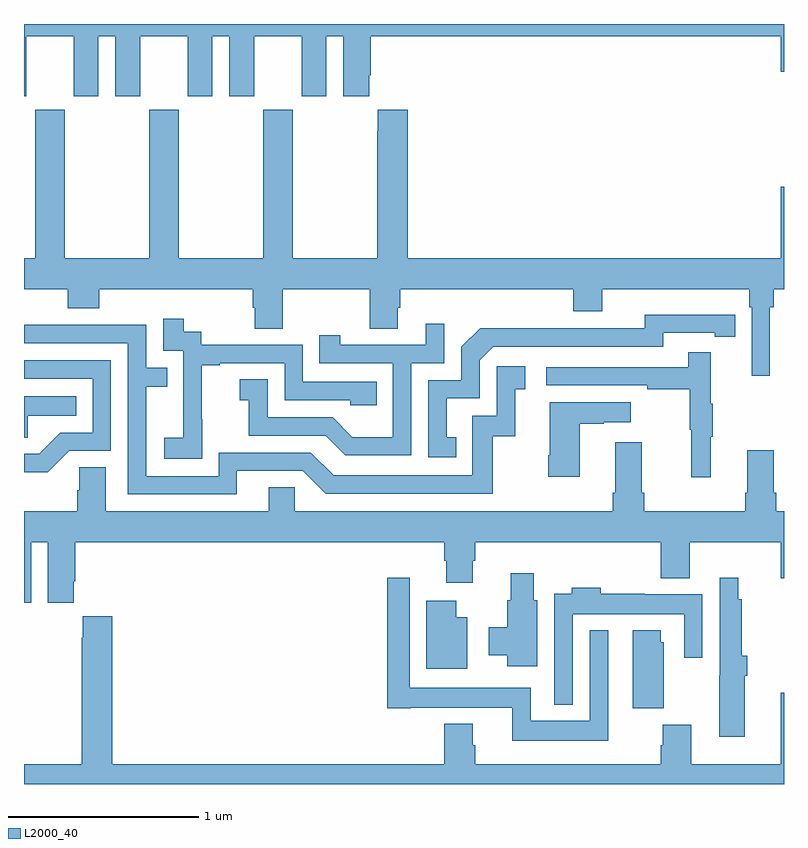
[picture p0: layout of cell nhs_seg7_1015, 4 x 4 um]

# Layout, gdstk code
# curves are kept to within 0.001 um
import gdstk
lib = gdstk.Library(unit=1e-6, precision=1e-09)
def P(c, l, *ps):  # polygons
    for p in ps: c.add(gdstk.Polygon(p, *l))
L2000_40 = (2000, 40)

nhs_seg7_1015 = lib.new_cell('nhs_seg7_1015')
P(nhs_seg7_1015, L2000_40, [(185.011,1013.936),(185.261,1013.936),(185.261,1013.619),(185.392,1013.619),(185.392,1013.936),(185.48,1013.936),(185.48,1013.619),(185.611,1013.619),(185.611,1013.936),(185.861,1013.936),(185.861,1013.619),(185.992,1013.619),(185.992,1013.936),(186.08,1013.936),(186.08,1013.619),(186.211,1013.619),(186.211,1013.936),(186.461,1013.936),(186.461,1013.619),(186.592,1013.619),(186.592,1013.936),(186.68,1013.936),(186.68,1013.619),(186.817,1013.619),(186.817,1013.731),(186.824,1013.731),(186.824,1013.936),(188.984,1013.936),(188.984,1013.748),(189,1013.748),(189,1014),(185,1014),(185,1013.619),(185.011,1013.619)],
  [(185.214,1013.548),(185.059,1013.548),(185.059,1012.768),(185,1012.768),(185,1012.604),(185.231,1012.604),(185.231,1012.505),(185.396,1012.505),(185.396,1012.604),(186.203,1012.604),(186.203,1012.506),(186.215,1012.506),(186.215,1012.396),(186.363,1012.396),(186.363,1012.604),(186.82,1012.604),(186.82,1012.396),(186.967,1012.396),(186.967,1012.506),(186.98,1012.506),(186.98,1012.604),(187.892,1012.604),(187.892,1012.487),(188.044,1012.487),(188.044,1012.604),(188.816,1012.604),(188.816,1012.508),(188.829,1012.508),(188.829,1012.149),(188.926,1012.149),(188.926,1012.508),(188.945,1012.508),(188.945,1012.604),(189,1012.604),(189,1013.143),(188.984,1013.143),(188.984,1012.768),(187.019,1012.768),(187.019,1013.548),(186.863,1013.548),(186.863,1013.435),(186.859,1013.435),(186.859,1012.768),(186.414,1012.768),(186.414,1013.548),(186.259,1013.548),(186.259,1012.768),(185.814,1012.768),(185.814,1013.548),(185.659,1013.548),(185.659,1012.768),(185.214,1012.768)],
  [(187.274,1011.825),(187.225,1011.825),(187.225,1012.029),(187.398,1012.029),(187.398,1012.23),(187.47,1012.302),(188.364,1012.302),(188.364,1012.374),(188.636,1012.374),(188.636,1012.354),(188.744,1012.354),(188.744,1012.47),(188.268,1012.471),(188.268,1012.398),(187.808,1012.398),(187.808,1012.4),(187.4,1012.4),(187.302,1012.302),(187.302,1012.125),(187.128,1012.125),(187.128,1011.72),(187.274,1011.72)],
  [(185.937,1011.919),(185.936,1011.919),(185.936,1012.203),(186.031,1012.203),(186.031,1012.215),(186.372,1012.215),(186.372,1012.02),(186.717,1012.02),(186.717,1011.993),(186.857,1011.993),(186.857,1012.116),(186.468,1012.116),(186.468,1012.311),(185.934,1012.311),(185.934,1012.38),(185.842,1012.38),(185.842,1012.45),(185.733,1012.45),(185.733,1012.281),(185.838,1012.281),(185.838,1012.052),(185.837,1012.052),(185.837,1011.823),(185.739,1011.823),(185.739,1011.713),(185.937,1011.713)],
  [(187.038,1012.215),(187.212,1012.215),(187.212,1012.423),(187.115,1012.423),(187.115,1012.311),(186.664,1012.311),(186.664,1012.363),(186.553,1012.363),(186.553,1012.215),(186.942,1012.215),(186.942,1011.826),(186.728,1011.826),(186.624,1011.93),(186.282,1011.93),(186.282,1012.129),(186.135,1012.129),(186.135,1012.019),(186.184,1012.019),(186.184,1011.834),(186.587,1011.834),(186.692,1011.729),(187.038,1011.729)],
  [(186.121,1011.648),(186.468,1011.648),(186.588,1011.528),(187.468,1011.528),(187.468,1011.831),(187.586,1011.831),(187.586,1012.077),(187.639,1012.077),(187.639,1012.198),(187.488,1012.198),(187.488,1011.939),(187.359,1011.939),(187.359,1011.624),(186.63,1011.624),(186.51,1011.744),(186.024,1011.744),(186.024,1011.621),(185.643,1011.621),(185.643,1012.09),(185.753,1012.09),(185.753,1012.191),(185.643,1012.191),(185.643,1012.416),(185.147,1012.416),(185.147,1012.418),(185,1012.418),(185,1012.32),(185.547,1012.32),(185.547,1011.525),(186.121,1011.525)],
  [(188.615,1011.827),(188.626,1011.827),(188.626,1012.001),(188.615,1012.001),(188.615,1012.273),(188.497,1012.273),(188.497,1012.194),(187.749,1012.194),(187.749,1012.098),(188.281,1012.098),(188.281,1012.078),(188.505,1012.078),(188.505,1011.864),(188.512,1011.864),(188.512,1011.615),(188.615,1011.615)],
  [(185.238,1011.753),(185.457,1011.753),(185.457,1012.23),(185,1012.23),(185,1012.134),(185.361,1012.134),(185.361,1011.849),(185.192,1011.849),(185.081,1011.738),(185,1011.738),(185,1011.641),(185.125,1011.641)],
  [(185.019,1011.938),(185.276,1011.938),(185.276,1012.042),(185,1012.042),(185,1011.823),(185.019,1011.823)],
  [(187.924,1011.895),(188.051,1011.895),(188.051,1011.905),(188.194,1011.905),(188.194,1012.009),(187.766,1012.009),(187.766,1011.73),(187.759,1011.73),(187.759,1011.618),(187.924,1011.618)],
  [(185.038,1011.272),(185.126,1011.272),(185.126,1010.955),(185.263,1010.955),(185.263,1011.067),(185.27,1011.067),(185.27,1011.272),(187.211,1011.272),(187.211,1011.174),(187.223,1011.174),(187.223,1011.06),(187.363,1011.06),(187.363,1011.174),(187.376,1011.174),(187.376,1011.272),(188.351,1011.272),(188.351,1011.083),(188.503,1011.083),(188.503,1011.272),(188.984,1011.272),(188.984,1011.084),(189,1011.084),(189,1011.436),(188.96,1011.436),(188.96,1011.532),(188.947,1011.532),(188.947,1011.757),(188.807,1011.757),(188.807,1011.532),(188.795,1011.532),(188.795,1011.436),(188.264,1011.436),(188.264,1011.532),(188.251,1011.532),(188.251,1011.799),(188.111,1011.799),(188.111,1011.532),(188.099,1011.532),(188.099,1011.436),(186.426,1011.436),(186.426,1011.563),(186.287,1011.563),(186.287,1011.436),(185.431,1011.436),(185.431,1011.668),(185.292,1011.668),(185.292,1011.545),(185.279,1011.545),(185.279,1011.436),(185,1011.436),(185,1010.955),(185.038,1010.955)],
  [(187.702,1010.967),(187.684,1010.967),(187.684,1011.109),(187.562,1011.109),(187.562,1010.967),(187.544,1010.967),(187.544,1010.826),(187.445,1010.826),(187.445,1010.678),(187.544,1010.678),(187.544,1010.619),(187.702,1010.619)],
  [(188.074,1010.809),(187.977,1010.809),(187.977,1010.332),(187.668,1010.332),(187.668,1010.506),(187.029,1010.506),(187.029,1011.085),(186.913,1011.085),(186.913,1010.4),(187.036,1010.4),(187.036,1010.402),(187.571,1010.402),(187.571,1010.228),(188.074,1010.228)],
  [(188.794,1010.57),(188.807,1010.57),(188.807,1010.674),(188.777,1010.674),(188.777,1010.972),(188.76,1010.972),(188.76,1011.085),(188.661,1011.085),(188.661,1010.57),(188.66,1010.57),(188.66,1010.25),(188.794,1010.25)],
  [(187.887,1010.894),(188.475,1010.894),(188.475,1010.664),(188.571,1010.664),(188.571,1010.998),(188.267,1010.998),(188.267,1011.001),(188.036,1011.001),(188.036,1011.034),(187.883,1011.034),(187.883,1011.001),(187.791,1011.001),(187.791,1010.417),(187.887,1010.417)],
  [(187.333,1010.878),(187.276,1010.878),(187.276,1010.965),(187.118,1010.965),(187.118,1010.606),(187.333,1010.606)],
  [(189,1010.479),(188.984,1010.479),(188.984,1010.104),(188.511,1010.104),(188.511,1010.313),(188.363,1010.313),(188.363,1010.204),(188.351,1010.204),(188.351,1010.104),(187.376,1010.104),(187.376,1010.205),(187.363,1010.205),(187.363,1010.317),(187.211,1010.317),(187.211,1010.104),(185.465,1010.104),(185.465,1010.884),(185.309,1010.884),(185.309,1010.771),(185.305,1010.771),(185.305,1010.104),(185,1010.104),(185,1010),(189,1010)],
  [(188.368,1010.745),(188.35,1010.745),(188.35,1010.809),(188.204,1010.809),(188.204,1010.398),(188.368,1010.398)])

lib.write_gds('nhs_seg7_1015.gds')
